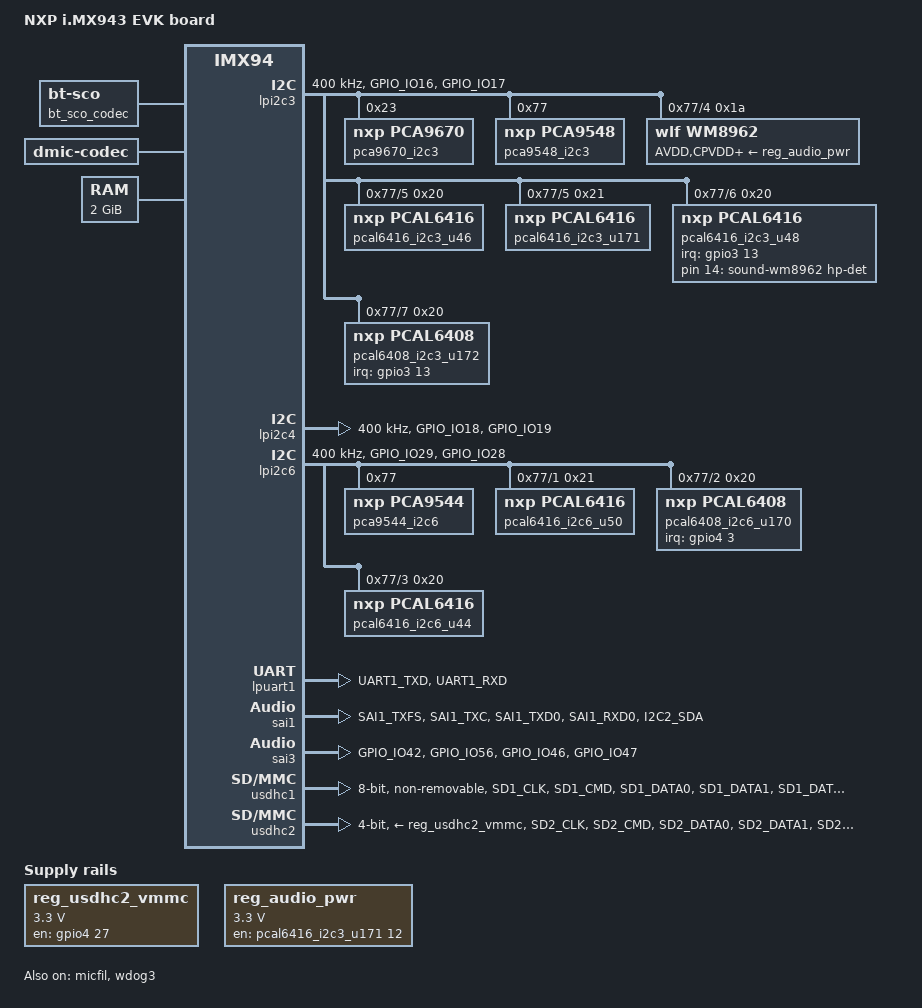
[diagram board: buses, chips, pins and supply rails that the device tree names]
// SPDX-License-Identifier: (GPL-2.0+ OR MIT)
/*
 * Copyright 2024-2025 NXP
 */

/dts-v1/;

#include "imx943.dtsi"

/ {
	compatible = "fsl,imx943-evk", "fsl,imx94";
	model = "NXP i.MX943 EVK board";

	aliases {
		i2c2 = &lpi2c3;
		i2c3 = &lpi2c4;
		i2c5 = &lpi2c6;
		mmc0 = &usdhc1;
		mmc1 = &usdhc2;
		serial0 = &lpuart1;
	};

	bt_sco_codec: bt-sco-codec {
		compatible = "linux,bt-sco";
		#sound-dai-cells = <1>;
	};

	chosen {
		stdout-path = &lpuart1;
	};

	dmic: dmic {
		compatible = "dmic-codec";
		#sound-dai-cells = <0>;
	};

	reg_usdhc2_vmmc: regulator-usdhc2 {
		compatible = "regulator-fixed";
		off-on-delay-us = <12000>;
		pinctrl-0 = <&pinctrl_reg_usdhc2_vmmc>;
		pinctrl-names = "default";
		regulator-max-microvolt = <3300000>;
		regulator-min-microvolt = <3300000>;
		regulator-name = "VDD_SD2_3V3";
		gpio = <&gpio4 27 GPIO_ACTIVE_HIGH>;
		enable-active-high;
	};

	reg_audio_pwr: regulator-wm8962-pwr {
		compatible = "regulator-fixed";
		regulator-max-microvolt = <3300000>;
		regulator-min-microvolt = <3300000>;
		regulator-name = "audio-pwr";
		gpio = <&pcal6416_i2c3_u171 12 GPIO_ACTIVE_HIGH>;
		enable-active-high;
	};

	reserved-memory {
		ranges;
		#address-cells = <2>;
		#size-cells = <2>;

		linux,cma {
			compatible = "shared-dma-pool";
			alloc-ranges = <0 0x80000000 0 0x7f000000>;
			reusable;
			size = <0 0x10000000>;
			linux,cma-default;
		};
	};

	sound-bt-sco {
		compatible = "simple-audio-card";
		simple-audio-card,bitclock-inversion;
		simple-audio-card,bitclock-master = <&btcpu>;
		simple-audio-card,format = "dsp_a";
		simple-audio-card,frame-master = <&btcpu>;
		simple-audio-card,name = "bt-sco-audio";

		simple-audio-card,codec {
			sound-dai = <&bt_sco_codec 1>;
		};

		btcpu: simple-audio-card,cpu {
			dai-tdm-slot-num = <2>;
			dai-tdm-slot-width = <16>;
			sound-dai = <&sai3>;
		};
	};

	sound-micfil {
		compatible = "fsl,imx-audio-card";
		model = "micfil-audio";

		pri-dai-link {
			format = "i2s";
			link-name = "micfil hifi";

			codec {
				sound-dai = <&dmic>;
			};

			cpu {
				sound-dai = <&micfil>;
			};
		};
	};

	sound-wm8962 {
		compatible = "fsl,imx-audio-wm8962";
		audio-codec = <&wm8962>;
		audio-cpu = <&sai1>;
		audio-routing = "Headphone Jack", "HPOUTL",
			"Headphone Jack", "HPOUTR",
			"Ext Spk", "SPKOUTL",
			"Ext Spk", "SPKOUTR",
			"AMIC", "MICBIAS",
			"IN3R", "AMIC",
			"IN1R", "AMIC";
		hp-det-gpio = <&pcal6416_i2c3_u48 14 GPIO_ACTIVE_HIGH>;
		model = "wm8962-audio";
	};

	memory@80000000 {
		reg = <0x0 0x80000000 0x0 0x80000000>;
		device_type = "memory";
	};
};

&lpi2c3 {
	clock-frequency = <400000>;
	pinctrl-0 = <&pinctrl_lpi2c3>;
	pinctrl-names = "default";
	status = "okay";

	pca9670_i2c3: gpio@23 {
		compatible = "nxp,pca9670";
		reg = <0x23>;
		#gpio-cells = <2>;
		gpio-controller;
	};

	pca9548_i2c3: i2c-mux@77 {
		compatible = "nxp,pca9548";
		reg = <0x77>;
		#address-cells = <1>;
		#size-cells = <0>;

		i2c@0 {
			reg = <0>;
			#address-cells = <1>;
			#size-cells = <0>;
		};

		i2c@1 {
			reg = <1>;
			#address-cells = <1>;
			#size-cells = <0>;
		};

		i2c@2 {
			reg = <2>;
			#address-cells = <1>;
			#size-cells = <0>;
		};

		i2c@3 {
			reg = <3>;
			#address-cells = <1>;
			#size-cells = <0>;
		};

		i2c@4 {
			reg = <4>;
			#address-cells = <1>;
			#size-cells = <0>;

			wm8962: codec@1a {
				compatible = "wlf,wm8962";
				reg = <0x1a>;
				clocks = <&scmi_clk IMX94_CLK_SAI1>;
				AVDD-supply = <&reg_audio_pwr>;
				CPVDD-supply = <&reg_audio_pwr>;
				DBVDD-supply = <&reg_audio_pwr>;
				DCVDD-supply = <&reg_audio_pwr>;
				gpio-cfg = <
					0x0000 /* 0:Default */
					0x0000 /* 1:Default */
					0x0000 /* 2:FN_DMICCLK */
					0x0000 /* 3:Default */
					0x0000 /* 4:FN_DMICCDAT */
					0x0000 /* 5:Default */
				>;
				MICVDD-supply = <&reg_audio_pwr>;
				PLLVDD-supply = <&reg_audio_pwr>;
				SPKVDD1-supply = <&reg_audio_pwr>;
				SPKVDD2-supply = <&reg_audio_pwr>;
			};
		};

		i2c@5 {
			reg = <5>;
			#address-cells = <1>;
			#size-cells = <0>;

			pcal6416_i2c3_u46: gpio@20 {
				compatible = "nxp,pcal6416";
				reg = <0x20>;
				#gpio-cells = <2>;
				gpio-controller;

				sd-card-on-hog {
					gpios = <13 GPIO_ACTIVE_HIGH>;
					gpio-hog;
					output-high;
				};
			};

			pcal6416_i2c3_u171: gpio@21 {
				compatible = "nxp,pcal6416";
				reg = <0x21>;
				#gpio-cells = <2>;
				gpio-controller;

				audio-pwren-hog {
					gpios = <12 GPIO_ACTIVE_HIGH>;
					gpio-hog;
					output-high;
				};

				mqs-mic-sel-hog {
					gpios = <11 GPIO_ACTIVE_HIGH>;
					gpio-hog;
					output-low;
				};
			};
		};

		i2c@6 {
			reg = <6>;
			#address-cells = <1>;
			#size-cells = <0>;

			pcal6416_i2c3_u48: gpio@20 {
				compatible = "nxp,pcal6416";
				reg = <0x20>;
				#interrupt-cells = <2>;
				interrupt-controller;
				interrupt-parent = <&gpio3>;
				interrupts = <13 IRQ_TYPE_LEVEL_LOW>;
				#gpio-cells = <2>;
				gpio-controller;
				pinctrl-0 = <&pinctrl_ioexpander_int>;
				pinctrl-names = "default";
			};
		};

		i2c@7 {
			reg = <7>;
			#address-cells = <1>;
			#size-cells = <0>;

			pcal6408_i2c3_u172: gpio@20 {
				compatible = "nxp,pcal6408";
				reg = <0x20>;
				#interrupt-cells = <2>;
				interrupt-controller;
				interrupt-parent = <&gpio3>;
				/* shared int pin with u48 */
				interrupts = <13 IRQ_TYPE_LEVEL_LOW>;
				#gpio-cells = <2>;
				gpio-controller;
			};
		};
	};
};

&lpi2c4 {
	clock-frequency = <400000>;
	pinctrl-0 = <&pinctrl_lpi2c4>;
	pinctrl-names = "default";
	status = "okay";
};

&lpi2c6 {
	clock-frequency = <400000>;
	pinctrl-0 = <&pinctrl_lpi2c6>;
	pinctrl-names = "default";
	status = "okay";

	pca9544_i2c6: i2c-mux@77 {
		compatible = "nxp,pca9544";
		reg = <0x77>;
		#address-cells = <1>;
		#size-cells = <0>;

		i2c@0 {
			reg = <0>;
			#address-cells = <1>;
			#size-cells = <0>;
		};

		i2c@1 {
			reg = <1>;
			#address-cells = <1>;
			#size-cells = <0>;

			pcal6416_i2c6_u50: gpio@21 {
				compatible = "nxp,pcal6416";
				reg = <0x21>;
				#gpio-cells = <2>;
				gpio-controller;
			};
		};

		i2c@2 {
			reg = <2>;
			#address-cells = <1>;
			#size-cells = <0>;

			pcal6408_i2c6_u170: gpio@20 {
				compatible = "nxp,pcal6408";
				reg = <0x20>;
				#interrupt-cells = <2>;
				interrupt-controller;
				interrupt-parent = <&gpio4>;
				interrupts = <3 IRQ_TYPE_LEVEL_LOW>;
				#gpio-cells = <2>;
				gpio-controller;
				pinctrl-0 = <&pinctrl_ioexpander_int2>;
				pinctrl-names = "default";
			};
		};

		i2c@3 {
			reg = <3>;
			#address-cells = <1>;
			#size-cells = <0>;

			pcal6416_i2c6_u44: gpio@20 {
				compatible = "nxp,pcal6416";
				reg = <0x20>;
				#gpio-cells = <2>;
				gpio-controller;

				/* pdm selection */
				can-pdm-sel-hog {
					gpios = <12 GPIO_ACTIVE_HIGH>;
					gpio-hog;
					output-low;
				};

				sai3-sel-hog {
					gpios = <11 GPIO_ACTIVE_HIGH>;
					gpio-hog;
					output-high;
				};

				/* eMMC IOMUX selection */
				sd1-sel-hog {
					gpios = <0 GPIO_ACTIVE_HIGH>;
					gpio-hog;
					output-high;
				};

				/* SD card IOMUX selection */
				sd2-sel-hog {
					gpios = <1 GPIO_ACTIVE_HIGH>;
					gpio-hog;
					output-high;
				};
			};
		};
	};
};

&lpuart1 {
	pinctrl-0 = <&pinctrl_uart1>;
	pinctrl-names = "default";
	status = "okay";
};

&micfil {
	assigned-clocks = <&scmi_clk IMX94_CLK_AUDIOPLL1_VCO>,
			  <&scmi_clk IMX94_CLK_AUDIOPLL2_VCO>,
			  <&scmi_clk IMX94_CLK_AUDIOPLL1>,
			  <&scmi_clk IMX94_CLK_AUDIOPLL2>,
			  <&scmi_clk IMX94_CLK_PDM>;
	assigned-clock-parents = <0>, <0>, <0>, <0>,
				 <&scmi_clk IMX94_CLK_AUDIOPLL1>;
	assigned-clock-rates = <3932160000>,
			       <3612672000>, <393216000>,
			       <361267200>, <49152000>;
	pinctrl-0 = <&pinctrl_pdm>;
	pinctrl-names = "default";
	status = "okay";
};

&sai1 {
	assigned-clocks = <&scmi_clk IMX94_CLK_AUDIOPLL1_VCO>,
			  <&scmi_clk IMX94_CLK_AUDIOPLL2_VCO>,
			  <&scmi_clk IMX94_CLK_AUDIOPLL1>,
			  <&scmi_clk IMX94_CLK_AUDIOPLL2>,
			  <&scmi_clk IMX94_CLK_SAI1>;
	assigned-clock-parents = <0>, <0>, <0>, <0>,
				 <&scmi_clk IMX94_CLK_AUDIOPLL1>;
	assigned-clock-rates = <3932160000>,
			       <3612672000>, <393216000>,
			       <361267200>, <12288000>;
	pinctrl-0 = <&pinctrl_sai1>;
	pinctrl-names = "default";
	fsl,sai-mclk-direction-output;
	status = "okay";
};

&sai3 {
	assigned-clocks = <&scmi_clk IMX94_CLK_AUDIOPLL1_VCO>,
			  <&scmi_clk IMX94_CLK_AUDIOPLL2_VCO>,
			  <&scmi_clk IMX94_CLK_AUDIOPLL1>,
			  <&scmi_clk IMX94_CLK_AUDIOPLL2>,
			  <&scmi_clk IMX94_CLK_SAI3>;
	assigned-clock-parents = <0>, <0>, <0>, <0>,
				 <&scmi_clk IMX94_CLK_AUDIOPLL1>;
	assigned-clock-rates = <3932160000>,
			       <3612672000>, <393216000>,
			       <361267200>, <12288000>;
	pinctrl-0 = <&pinctrl_sai3>;
	pinctrl-names = "default";
	fsl,sai-mclk-direction-output;
	status = "okay";
};

&scmi_iomuxc {

	pinctrl_ioexpander_int2: ioexpanderint2grp {
		fsl,pins = <
			IMX94_PAD_CCM_CLKO4__GPIO4_IO3		0x31e
		>;
	};

	pinctrl_ioexpander_int: ioexpanderintgrp {
		fsl,pins = <
			IMX94_PAD_GPIO_IO45__GPIO3_IO13		0x31e
		>;
	};

	pinctrl_lpi2c3: lpi2c3grp {
		fsl,pins = <
			IMX94_PAD_GPIO_IO16__LPI2C3_SDA		0x40000b9e
			IMX94_PAD_GPIO_IO17__LPI2C3_SCL		0x40000b9e
		>;
	};

	pinctrl_lpi2c4: lpi2c4grp {
		fsl,pins = <
			IMX94_PAD_GPIO_IO18__LPI2C4_SDA		0x40000b9e
			IMX94_PAD_GPIO_IO19__LPI2C4_SCL		0x40000b9e
		>;
	};

	pinctrl_lpi2c6: lpi2c6grp {
		fsl,pins = <
			IMX94_PAD_GPIO_IO29__LPI2C6_SDA		0x40000b9e
			IMX94_PAD_GPIO_IO28__LPI2C6_SCL		0x40000b9e
		>;
	};

	pinctrl_pdm: pdmgrp {
		fsl,pins = <
			IMX94_PAD_PDM_CLK__PDM_CLK			0x31e
			IMX94_PAD_PDM_BIT_STREAM0__PDM_BIT_STREAM0	0x31e
			IMX94_PAD_PDM_BIT_STREAM1__PDM_BIT_STREAM1	0x31e
		>;
	};

	pinctrl_sai1: sai1grp {
		fsl,pins = <
			IMX94_PAD_SAI1_TXFS__SAI1_TX_SYNC	0x31e
			IMX94_PAD_SAI1_TXC__SAI1_TX_BCLK	0x31e
			IMX94_PAD_SAI1_TXD0__SAI1_TX_DATA0	0x31e
			IMX94_PAD_SAI1_RXD0__SAI1_RX_DATA0	0x31e
			IMX94_PAD_I2C2_SDA__SAI1_MCLK		0x31e
		>;
	};

	pinctrl_sai3: sai3grp {
		fsl,pins = <
			IMX94_PAD_GPIO_IO42__SAI3_TX_BCLK	0x31e
			IMX94_PAD_GPIO_IO56__SAI3_TX_SYNC	0x31e
			IMX94_PAD_GPIO_IO46__SAI3_RX_DATA0	0x31e
			IMX94_PAD_GPIO_IO47__SAI3_TX_DATA0	0x31e
		>;
	};

	pinctrl_uart1: uart1grp {
		fsl,pins = <
			IMX94_PAD_UART1_TXD__LPUART1_TX		0x31e
			IMX94_PAD_UART1_RXD__LPUART1_RX		0x31e
		>;
	};

	pinctrl_usdhc1_100mhz: usdhc1-100mhzgrp {
		fsl,pins = <
			IMX94_PAD_SD1_CLK__USDHC1_CLK		0x158e
			IMX94_PAD_SD1_CMD__USDHC1_CMD		0x138e
			IMX94_PAD_SD1_DATA0__USDHC1_DATA0	0x138e
			IMX94_PAD_SD1_DATA1__USDHC1_DATA1	0x138e
			IMX94_PAD_SD1_DATA2__USDHC1_DATA2	0x138e
			IMX94_PAD_SD1_DATA3__USDHC1_DATA3	0x138e
			IMX94_PAD_SD1_DATA4__USDHC1_DATA4	0x138e
			IMX94_PAD_SD1_DATA5__USDHC1_DATA5	0x138e
			IMX94_PAD_SD1_DATA6__USDHC1_DATA6	0x138e
			IMX94_PAD_SD1_DATA7__USDHC1_DATA7	0x138e
			IMX94_PAD_SD1_STROBE__USDHC1_STROBE	0x158e
		>;
	};

	pinctrl_usdhc1_200mhz: usdhc1-200mhzgrp {
		fsl,pins = <
			IMX94_PAD_SD1_CLK__USDHC1_CLK		0x15fe
			IMX94_PAD_SD1_CMD__USDHC1_CMD		0x13fe
			IMX94_PAD_SD1_DATA0__USDHC1_DATA0	0x13fe
			IMX94_PAD_SD1_DATA1__USDHC1_DATA1	0x13fe
			IMX94_PAD_SD1_DATA2__USDHC1_DATA2	0x13fe
			IMX94_PAD_SD1_DATA3__USDHC1_DATA3	0x13fe
			IMX94_PAD_SD1_DATA4__USDHC1_DATA4	0x13fe
			IMX94_PAD_SD1_DATA5__USDHC1_DATA5	0x13fe
			IMX94_PAD_SD1_DATA6__USDHC1_DATA6	0x13fe
			IMX94_PAD_SD1_DATA7__USDHC1_DATA7	0x13fe
			IMX94_PAD_SD1_STROBE__USDHC1_STROBE	0x15fe
		>;
	};

	pinctrl_usdhc1: usdhc1grp {
		fsl,pins = <
			IMX94_PAD_SD1_CLK__USDHC1_CLK		0x158e
			IMX94_PAD_SD1_CMD__USDHC1_CMD		0x138e
			IMX94_PAD_SD1_DATA0__USDHC1_DATA0	0x138e
			IMX94_PAD_SD1_DATA1__USDHC1_DATA1	0x138e
			IMX94_PAD_SD1_DATA2__USDHC1_DATA2	0x138e
			IMX94_PAD_SD1_DATA3__USDHC1_DATA3	0x138e
			IMX94_PAD_SD1_DATA4__USDHC1_DATA4	0x138e
			IMX94_PAD_SD1_DATA5__USDHC1_DATA5	0x138e
			IMX94_PAD_SD1_DATA6__USDHC1_DATA6	0x138e
			IMX94_PAD_SD1_DATA7__USDHC1_DATA7	0x138e
			IMX94_PAD_SD1_STROBE__USDHC1_STROBE	0x158e
		>;
	};

	pinctrl_usdhc2_100mhz: usdhc2-100mhzgrp {
		fsl,pins = <
			IMX94_PAD_SD2_CLK__USDHC2_CLK		0x158e
			IMX94_PAD_SD2_CMD__USDHC2_CMD		0x138e
			IMX94_PAD_SD2_DATA0__USDHC2_DATA0	0x138e
			IMX94_PAD_SD2_DATA1__USDHC2_DATA1	0x138e
			IMX94_PAD_SD2_DATA2__USDHC2_DATA2	0x138e
			IMX94_PAD_SD2_DATA3__USDHC2_DATA3	0x138e
			IMX94_PAD_SD2_VSELECT__USDHC2_VSELECT	0x51e
		>;
	};

	pinctrl_usdhc2_200mhz: usdhc2-200mhzgrp {
		fsl,pins = <
			IMX94_PAD_SD2_CLK__USDHC2_CLK		0x15fe
			IMX94_PAD_SD2_CMD__USDHC2_CMD		0x13fe
			IMX94_PAD_SD2_DATA0__USDHC2_DATA0	0x13fe
			IMX94_PAD_SD2_DATA1__USDHC2_DATA1	0x13fe
			IMX94_PAD_SD2_DATA2__USDHC2_DATA2	0x13fe
			IMX94_PAD_SD2_DATA3__USDHC2_DATA3	0x13fe
			IMX94_PAD_SD2_VSELECT__USDHC2_VSELECT	0x51e
		>;
	};

	pinctrl_usdhc2_gpio: usdhc2gpiogrp {
		fsl,pins = <
			IMX94_PAD_SD2_CD_B__GPIO4_IO20		0x31e
		>;
	};

	pinctrl_usdhc2: usdhc2grp {
		fsl,pins = <
			IMX94_PAD_SD2_CLK__USDHC2_CLK		0x158e
			IMX94_PAD_SD2_CMD__USDHC2_CMD		0x138e
			IMX94_PAD_SD2_DATA0__USDHC2_DATA0	0x138e
			IMX94_PAD_SD2_DATA1__USDHC2_DATA1	0x138e
			IMX94_PAD_SD2_DATA2__USDHC2_DATA2	0x138e
			IMX94_PAD_SD2_DATA3__USDHC2_DATA3	0x138e
			IMX94_PAD_SD2_VSELECT__USDHC2_VSELECT	0x51e
		>;
	};

	pinctrl_reg_usdhc2_vmmc: usdhc2regvmmcgrp {
		fsl,pins = <
			IMX94_PAD_SD2_RESET_B__GPIO4_IO27	0x31e
		>;
	};
};

&usdhc1 {
	pinctrl-0 = <&pinctrl_usdhc1>;
	pinctrl-1 = <&pinctrl_usdhc1_100mhz>;
	pinctrl-2 = <&pinctrl_usdhc1_200mhz>;
	pinctrl-names = "default", "state_100mhz", "state_200mhz";
	bus-width = <8>;
	non-removable;
	no-sdio;
	no-sd;
	status = "okay";
};

&usdhc2 {
	pinctrl-0 = <&pinctrl_usdhc2>, <&pinctrl_usdhc2_gpio>;
	pinctrl-1 = <&pinctrl_usdhc2_100mhz>, <&pinctrl_usdhc2_gpio>;
	pinctrl-2 = <&pinctrl_usdhc2_200mhz>, <&pinctrl_usdhc2_gpio>;
	pinctrl-names = "default", "state_100mhz", "state_200mhz";
	bus-width = <4>;
	no-mmc;
	no-sdio;
	cd-gpios = <&gpio4 20 GPIO_ACTIVE_LOW>;
	vmmc-supply = <&reg_usdhc2_vmmc>;
	status = "okay";
};

&wdog3 {
	fsl,ext-reset-output;
	status = "okay";
};
